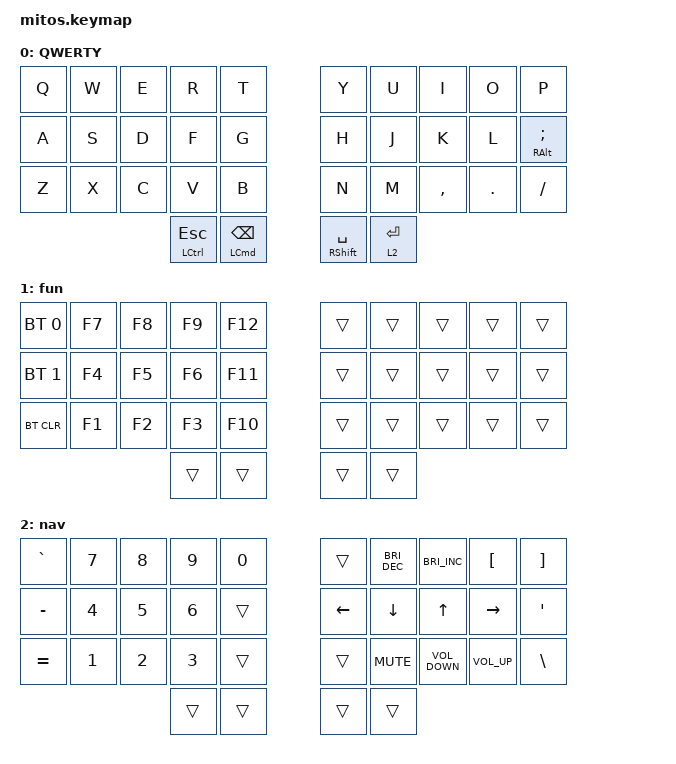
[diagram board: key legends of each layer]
/*
*
* Copyright (c) 2021 Darryl deHaan
* SPDX-License-Identifier: MIT
*
*/

#include <behaviors.dtsi>
#include <dt-bindings/zmk/bt.h>
#include <dt-bindings/zmk/keys.h>

/ {
    chosen {
        zmk,matrix_transform = &default_transform;

        // zmk,matrix_transform = &five_column_transform;
    };
};

/ {
    combos {
        compatible = "zmk,combos";

        escape {
            bindings = <&kp TAB>;
            key-positions = <28 29>;
        };

        fun {
            bindings = <&mo 1>;
            key-positions = <31 19>;
        };

        cga {
            bindings = <&kp RG(RC(RIGHT_ALT))>;
            key-positions = <30 31>;
        };
    };

    keymap {
        compatible = "zmk,keymap";

        default_layer {
            display-name = "QWERTY";
            bindings = <
&kp Q  &kp W  &kp E  &kp R                    &kp T                         &kp Y                  &kp U        &kp I      &kp O    &kp P                  
&kp A  &kp S  &kp D  &kp F                    &kp G                         &kp H                  &kp J        &kp K      &kp L    &mt RIGHT_ALT SEMICOLON
&kp Z  &kp X  &kp C  &kp V                    &kp B                         &kp N                  &kp M        &kp COMMA  &kp DOT  &kp SLASH              
                     &mt LEFT_CONTROL ESCAPE  &mt LEFT_COMMAND BACKSPACE    &mt RIGHT_SHIFT SPACE  &lt 2 ENTER
            >;
        };

        fun {
            bindings = <
&bt BT_SEL 0  &kp F7  &kp F8  &kp F9  &kp F12    &trans  &trans  &trans  &trans  &trans 
&bt BT_SEL 1  &kp F4  &kp F5  &kp F6  &kp F11    &trans  &trans  &trans  &trans  &trans 
&bt BT_CLR    &kp F1  &kp F2  &kp F3  &kp F10    &trans  &trans  &trans  &trans  &trans 
                              &trans  &trans     &trans  &trans 
            >;
        };

        nav {
            bindings = <
&kp GRAVE  &kp N7   &kp N8    &kp N9    &kp N0            &trans     &kp C_BRIGHTNESS_DEC  &kp C_BRIGHTNESS_INC  &kp LEFT_BRACKET   &kp RIGHT_BRACKET  
&kp MINUS  &kp N4   &kp N5    &kp N6    &trans            &kp LEFT   &kp DOWN              &kp UP                &kp RIGHT          &kp SINGLE_QUOTE 
&kp EQUAL  &kp N1   &kp N2    &kp N3    &trans            &trans     &kp C_MUTE            &kp C_VOLUME_DOWN     &kp C_VOLUME_UP    &kp BACKSLASH    
                              &trans    &trans            &trans     &trans               
            >;
        };
    };
};
